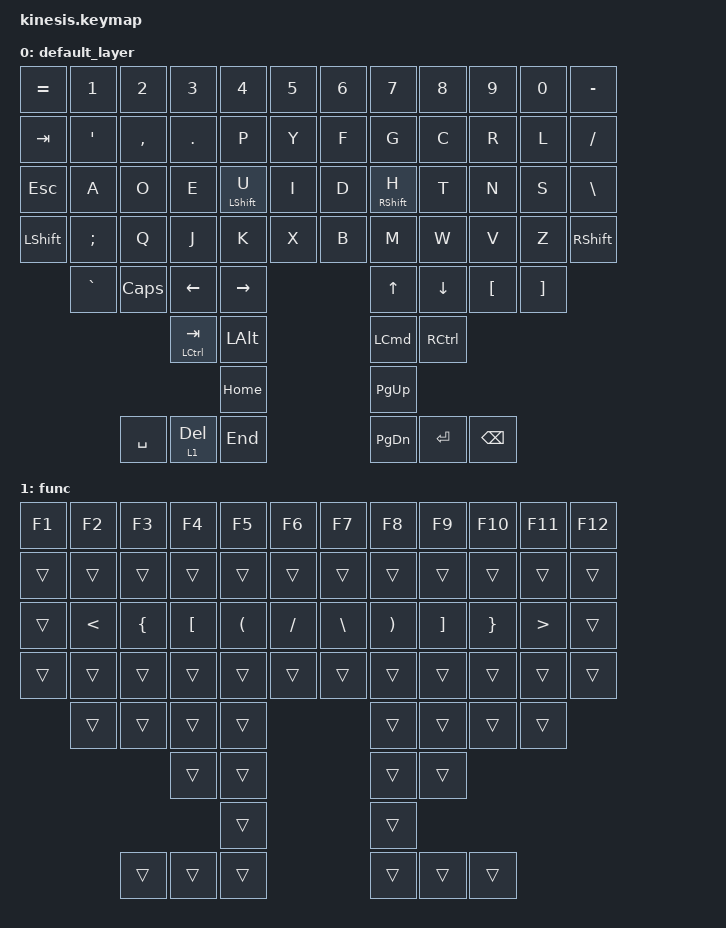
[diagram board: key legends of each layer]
#include <behaviors.dtsi>
#include <dt-bindings/zmk/keys.h>

&mt {
    tapping-term-ms = <170>;
    quick-tap-ms = <100>;
    flavor = "hold-preferred";
};

&lt {
    tapping-term-ms = <170>;
    quick-tap-ms = <100>;
    flavor = "tap-preferred";
};

/ {
    combos {
        compatible = "zmk,combos";

        Capsword {
            bindings = <&caps_word>;
            key-positions = <28 31>;
        };
    };

    behaviors {
        hml: hml {
            compatible = "zmk,behavior-hold-tap";
            label = "HML";
            bindings = <&kp>, <&kp>;

            #binding-cells = <2>;
            tapping-term-ms = <140>;
            quick-tap-ms = <75>;
            flavor = "tap-preferred";
            hold-trigger-on-release;
            hold-trigger-key-positions = <56 57 60 64 63 62 58 59 61 65 66 67 6 18 30 42 43 52 53 44 32 31 19 20 8 7 9 21 33 45 54 55 34 46 47 35 23 22 10 11>;
        };

        hmr: hmr {
            compatible = "zmk,behavior-hold-tap";
            label = "HMR";
            bindings = <&kp>, <&kp>;

            #binding-cells = <2>;
            tapping-term-ms = <140>;
            quick-tap-ms = <75>;
            flavor = "tap-preferred";
            hold-trigger-on-release;
            hold-trigger-key-positions = <56 57 60 64 63 62 58 59 61 65 66 67 41 29 17 5 0 12 24 36 37 48 49 50 51 40 39 38 26 25 27 28 16 15 14 13 1 2 3 4>;
        };
    };

    keymap {
        compatible = "zmk,keymap";

        default_layer {
            // ----------------------------------------------------------------------------------------------------
            // |  +/=   |   1   |   2   |   3   |   4   |   5   |   6   |   7   |   8   |   9   |   0    | -/_    |
            // |  TAB   |   Q   |   W   |   E   |   R   |   T   |   Y   |   U   |   I   |   O   |   P    | :/\    |
            // |  CAPS  |   A   |   S   |   D   |   F   |   G   |   H   |   J   |   K   |   L   |   ;    | '/"    |
            // | LSHIFT |   Z   |   X   |   C   |   V   |   B   |   N   |   M   |   ,   |   .   |   /    | RSHIFT |
            // |        |   ~   |  :/\  |  LA   |  RA   |       |       |   UA  |  DA   |   [   |   ]    |        |
            // |  BS    |  DEL  |  End  | HOME  |  ALT  |  CTRL |  CTRL |  Win  | PgUp  |  PgDn | Enter  | Space  |

            bindings = <
&kp EQUAL   &kp N1         &kp N2     &kp N3         &kp N4             &kp N5  &kp N6  &kp N7              &kp N8     &kp N9    &kp N0    &kp MINUS
&kp TAB     &kp SQT        &kp COMMA  &kp PERIOD     &kp P              &kp Y   &kp F   &kp G               &kp C      &kp R     &kp L     &kp SLASH
&kp ESCAPE  &kp A          &kp O      &kp E          &hml LEFT_SHIFT U  &kp I   &kp D   &hmr RIGHT_SHIFT H  &kp T      &kp N     &kp S     &kp BACKSLASH
&kp LSHFT   &kp SEMICOLON  &kp Q      &kp J          &kp K              &kp X   &kp B   &kp M               &kp W      &kp V     &kp Z     &kp RSHFT
            &kp GRAVE      &kp CAPS   &kp LEFT       &kp RIGHT                          &kp UP              &kp DOWN   &kp LBKT  &kp RBKT
                                      &mt LCTRL TAB  &kp LALT                           &kp LCMD            &kp RCTRL
                                                     &kp HOME                           &kp PG_UP
                           &kp SPACE  &lt 1 DELETE   &kp END                            &kp PG_DN           &kp ENTER  &kp BSPC
            >;
        };

        func {
            bindings = <
&kp F1  &kp F2         &kp F3          &kp F4            &kp F5                &kp F6     &kp F7         &kp F8                 &kp F9             &kp F10          &kp F11           &kp F12
&trans  &trans         &trans          &trans            &trans                &trans     &trans         &trans                 &trans             &trans           &trans            &trans
&trans  &kp LESS_THAN  &kp LEFT_BRACE  &kp LEFT_BRACKET  &kp LEFT_PARENTHESIS  &kp SLASH  &kp BACKSLASH  &kp RIGHT_PARENTHESIS  &kp RIGHT_BRACKET  &kp RIGHT_BRACE  &kp GREATER_THAN  &trans
&trans  &trans         &trans          &trans            &trans                &trans     &trans         &trans                 &trans             &trans           &trans            &trans
        &trans         &trans          &trans            &trans                                          &trans                 &trans             &trans           &trans
                                       &trans            &trans                                          &trans                 &trans
                                                         &trans                                          &trans
                       &trans          &trans            &trans                                          &trans                 &trans             &trans
            >;
        };
    };
};
